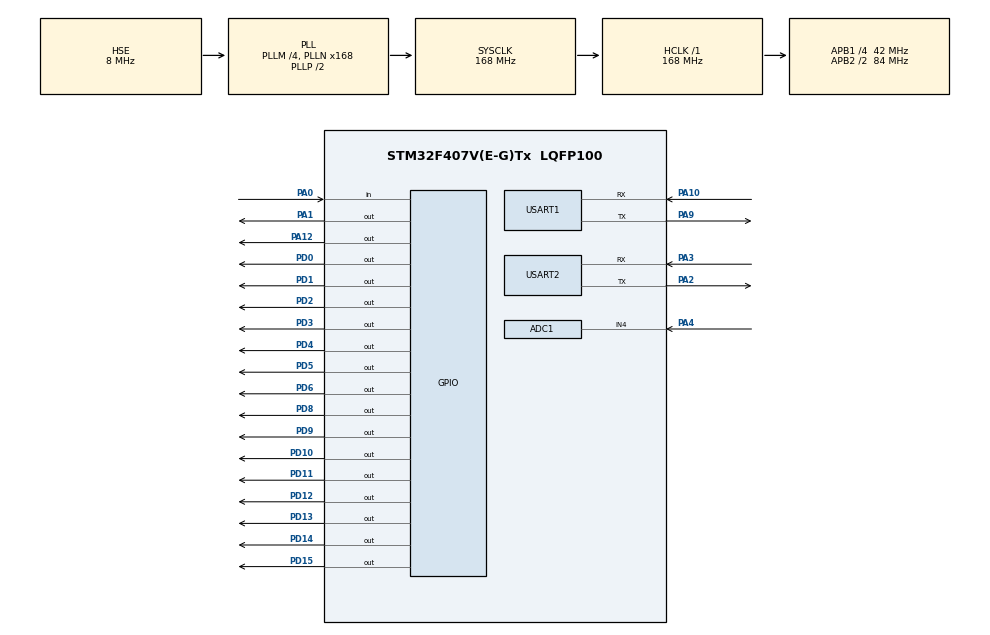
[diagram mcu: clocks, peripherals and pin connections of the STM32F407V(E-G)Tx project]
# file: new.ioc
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ADC1.Channel-1\#ChannelRegularConversion=ADC_CHANNEL_4
ADC1.NbrOfConversionFlag=1
ADC1.Rank-1\#ChannelRegularConversion=1
ADC1.SamplingTime-1\#ChannelRegularConversion=ADC_SAMPLETIME_3CYCLES
ADC1.master=1
Dma.Request0=USART2_RX
Dma.USART2_RX.0.Direction=DMA_PERIPH_TO_MEMORY
Dma.USART2_RX.0.FIFOMode=DMA_FIFOMODE_DISABLE
Dma.USART2_RX.0.Instance=DMA1_Stream5
Dma.USART2_RX.0.MemDataAlignment=DMA_MDATAALIGN_BYTE
Dma.USART2_RX.0.MemInc=DMA_MINC_ENABLE
Dma.USART2_RX.0.Mode=DMA_CIRCULAR
Dma.USART2_RX.0.PeriphDataAlignment=DMA_PDATAALIGN_BYTE
Dma.USART2_RX.0.PeriphInc=DMA_PINC_DISABLE
Dma.USART2_RX.0.Priority=DMA_PRIORITY_LOW
FREERTOS.Tasks01=defaultTask,0,128,StartDefaultTask,Default,NULL,Dynamic,NULL,NULL;myTask02,0,512,StartTask02,Default,NULL,Dynamic,NULL,NULL
Mcu.Family=STM32F4
Mcu.Name=STM32F407V(E-G)Tx
Mcu.Package=LQFP100
NVIC.DMA1_Stream5_IRQn=true\:5\:0\:false\:false\:true\:true\:false\:true\:true
NVIC.PriorityGroup=NVIC_PRIORITYGROUP_4
PA0-WKUP.Signal=GPIO_Input
PA1.Signal=GPIO_Output
PA10.Mode=Asynchronous
PA10.Signal=USART1_RX
PA12.Signal=GPIO_Output
PA13.Mode=Serial_Wire
PA13.Signal=SYS_JTMS-SWDIO
PA14.Mode=Serial_Wire
PA14.Signal=SYS_JTCK-SWCLK
PA2.Mode=Asynchronous
PA2.Signal=USART2_TX
PA3.Mode=Asynchronous
PA3.Signal=USART2_RX
PA4.Signal=ADCx_IN4
PA9.Mode=Asynchronous
PA9.Signal=USART1_TX
PD0.Signal=GPIO_Output
PD1.Signal=GPIO_Output
PD10.Signal=GPIO_Output
PD11.Signal=GPIO_Output
PD12.Signal=GPIO_Output
PD13.Signal=GPIO_Output
PD14.Signal=GPIO_Output
PD15.Signal=GPIO_Output
PD2.Signal=GPIO_Output
PD3.Signal=GPIO_Output
PD4.Signal=GPIO_Output
PD5.Signal=GPIO_Output
PD6.Signal=GPIO_Output
PD8.Signal=GPIO_Output
PD9.Signal=GPIO_Output
PH0-OSC_IN.Mode=HSE-External-Oscillator
PH0-OSC_IN.Signal=RCC_OSC_IN
PH1-OSC_OUT.Mode=HSE-External-Oscillator
PH1-OSC_OUT.Signal=RCC_OSC_OUT
ProjectManager.HeapSize=0x200
ProjectManager.StackSize=0x400
ProjectManager.TargetToolchain=STM32CubeIDE
RCC.48MHZClocksFreq_Value=84000000
RCC.AHBFreq_Value=168000000
RCC.APB1CLKDivider=RCC_HCLK_DIV4
RCC.APB1Freq_Value=42000000
RCC.APB1TimFreq_Value=84000000
RCC.APB2CLKDivider=RCC_HCLK_DIV2
RCC.APB2Freq_Value=84000000
RCC.APB2TimFreq_Value=168000000
RCC.CortexFreq_Value=168000000
RCC.HCLKFreq_Value=168000000
RCC.HSE_VALUE=8000000
RCC.HSI_VALUE=16000000
RCC.LSE_VALUE=32768
RCC.PLLM=4
RCC.PLLN=168
RCC.PLLSourceVirtual=RCC_PLLSOURCE_HSE
RCC.SYSCLKFreq_VALUE=168000000
RCC.SYSCLKSource=RCC_SYSCLKSOURCE_PLLCLK
RCC.VCOOutputFreq_Value=336000000
SH.ADCx_IN4.0=ADC1_IN4,IN4
USART1.VirtualMode=VM_ASYNC
USART2.VirtualMode=VM_ASYNC
VP_FREERTOS_VS_CMSIS_V1.Mode=CMSIS_V1
board=custom

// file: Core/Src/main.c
/* USER CODE BEGIN Header */
/**
 ******************************************************************************
 * @file           : main.c
 * @brief          : Main program body
 ******************************************************************************
 * @attention
 *
 * Copyright (c) 2025 STMicroelectronics.
 * All rights reserved.
 *
 * This software is licensed under terms that can be found in the LICENSE file
 * in the root directory of this software component.
 * If no LICENSE file comes with this software, it is provided AS-IS.
 *
 ******************************************************************************
 */
/* USER CODE END Header */
#include "main.h"
#include "cmsis_os.h"

/* USER CODE BEGIN Includes */
#include <stdio.h>
#include <string.h>
#include <stdlib.h>
#include "FreeRTOS.h"
#include "task.h"
#include "stm32f4xx_hal.h"
#include <math.h>
#include <stdbool.h>

/* USER CODE END Includes */

ADC_HandleTypeDef hadc1;

UART_HandleTypeDef huart1;
UART_HandleTypeDef huart2;
DMA_HandleTypeDef hdma_usart2_rx;

osThreadId defaultTaskHandle;
osThreadId myTask02Handle;
/* USER CODE BEGIN PV */
char rx_buffer[9];
float get_pressure;
uint32_t adc_Value;
float voltage;
float pressure;
char msg[150];
char buf[100];
float pressPSI;
#define TOLERANCE 3 // Tolerance range for fluctuating values (±2g around the target)
uint32_t current_time;
uint32_t last_time_1;

#define FLASH_USER_START_ADDR ((uint32_t)0x080E0000) // Flash address to store data

#define HX711_DT_PIN GPIO_PIN_0
#define HX711_DT_PORT GPIOA
#define HX711_SCK_PIN GPIO_PIN_1
#define HX711_SCK_PORT GPIOA
char RxData[11];
#define NUM_READINGS 10
float average_weight = 0.0;
float weight_readings[NUM_READINGS];
float sum = 0.0;
float get_wieght = 0;

// Function prototypes
void Flash_WriteData(uint32_t address, void *data, uint32_t size);
void Flash_ReadData(uint32_t address, void *data, uint32_t size);
void HX711_Init(void);
int32_t HX711_Read(void);
float HX711_GetWeight(int32_t offset, float scale);

// Flash Write Function
void Flash_WriteData(uint32_t address, void *data, uint32_t size) {
	HAL_FLASH_Unlock();
	for (uint32_t i = 0; i < size; i += 4) {
		HAL_FLASH_Program(FLASH_TYPEPROGRAM_WORD, address + i,
				*(uint32_t*) ((uint8_t*) data + i));
	}
	HAL_FLASH_Lock();
}

// Flash Read Function
void Flash_ReadData(uint32_t address, void *data, uint32_t size) {
	memcpy(data, (void*) address, size);
}

char buffer1[100];
char buffer2[200];
char buffer3[200];
char buffer4[200];
char buffer0[100];
char buffer5[50];
char buffer6[100];
char buffer7[100];
char buffer[100] = { 0 };
//uint8_t rx_buffer[100];

/* USER CODE END PV */

void SystemClock_Config(void);
static void MX_GPIO_Init(void);
static void MX_DMA_Init(void);
static void MX_USART1_UART_Init(void);
static void MX_USART2_UART_Init(void);
static void MX_ADC1_Init(void);
void StartDefaultTask(void const *argument);
void StartTask02(void const *argument);

/* USER CODE BEGIN PFP */
//void WeightMeasurementTask(void *parameters);
//void ValveOperatingTask(void *parameters);

/* USER CODE END PFP */

/* USER CODE BEGIN 0 */

void HX711_Init(void) {
	HAL_GPIO_WritePin(HX711_SCK_PORT, HX711_SCK_PIN, GPIO_PIN_RESET);
}

int32_t HX711_Read(void) {
	int32_t data = 0;
	uint8_t i;

	while (HAL_GPIO_ReadPin(HX711_DT_PORT, HX711_DT_PIN) == GPIO_PIN_SET)
		;

	for (i = 0; i < 24; i++) {
		HAL_GPIO_WritePin(HX711_SCK_PORT, HX711_SCK_PIN, GPIO_PIN_SET); // SCK
		//HAL_Delay(10);
		data = (data << 1) | HAL_GPIO_ReadPin(HX711_DT_PORT, HX711_DT_PIN);
		HAL_GPIO_WritePin(HX711_SCK_PORT, HX711_SCK_PIN, GPIO_PIN_RESET); // SCK
		//HAL_Delay(100);
	}

	HAL_GPIO_WritePin(HX711_SCK_PORT, HX711_SCK_PIN, GPIO_PIN_SET); // 25th pulse
	HAL_GPIO_WritePin(HX711_SCK_PORT, HX711_SCK_PIN, GPIO_PIN_RESET);

	if (data & 0x800000) {
		data |= 0xFF000000;
	}

	return data;
}
float HX711_GetWeight(int32_t offset, float scale) {
	int32_t raw_value = HX711_Read();
	float weight = ((float) (raw_value - offset) / scale);

	// Avoid displaying small negative values due to noise
	if (fabs(raw_value - offset) < 500) {
		return 0.0;
	}
	return weight;
}

/* USER CODE END 0 */

// Fun to send the data to LCD

void SendIconToDWIN(void) {
	uint8_t icon_command[] = { 0x5a, 0xa5, 0x05, 0x82, 0x12, 0x50, 0x00, 0x22}; // Example command, refer to your display's documentation for correct values.
	HAL_UART_Transmit(&huart2, icon_command, sizeof(icon_command), 500);
}

void Reset_GPIO_Pins1(void) {
	HAL_GPIO_WritePin(GPIOD,
			GPIO_PIN_0 | GPIO_PIN_1 | GPIO_PIN_2 | GPIO_PIN_3 | GPIO_PIN_4
					| GPIO_PIN_5 | GPIO_PIN_8 | GPIO_PIN_9 | GPIO_PIN_10
					| GPIO_PIN_11 | GPIO_PIN_12 | GPIO_PIN_13 | GPIO_PIN_14
					| GPIO_PIN_15, GPIO_PIN_RESET);
}
void Set_Valves1(uint32_t *pins, uint8_t pin_count) {
	for (uint8_t i = 0; i < pin_count; i++) {
		HAL_GPIO_WritePin(GPIOD, pins[i], GPIO_PIN_SET);
	}
}
void cycle1(uint32_t *pins, uint8_t pin_count) {
	Set_Valves(pins, pin_count);
	//osDelay(delay);
	//Reset_GPIO_Pins();
}
void cycle_for_rinse1(uint32_t *pins, uint8_t pin_count,uint32_t delay) {
	Set_Valves(pins, pin_count);
	osDelay(delay);
	Reset_GPIO_Pins();
}

//    -------------  This code for pressure sensor code  without while for using it weight measuring function ------------------

float Water_pressure_get_PSI(void)
{
    const uint32_t num_samples = 10;
    const float Vcc = 3.3f;   // MCU ADC reference voltage
    const float Vmin = 0.5f;  // Sensor output at 0 MPa
    const float Vmax = 4.5f;  // Sensor output at 1.6 MPa
    const float Pmax = 1.6f;  // Max pressure in MPa

    uint32_t raw = 0;

    // Take multiple samples and average
    for (uint32_t i = 0; i < num_samples; i++) {
        HAL_ADC_Start(&hadc1);
        if (HAL_ADC_PollForConversion(&hadc1, HAL_MAX_DELAY) == HAL_OK) {
            raw += HAL_ADC_GetValue(&hadc1);
        }
    }
    raw /= num_samples;

    // Convert raw ADC to voltage
    float voltage = raw * (Vcc / 4095.0f);

    // Convert voltage to pressure (MPa)
    float pressMPa = (voltage - Vmin) * (Pmax / (Vmax - Vmin));

    // Clamp pressure
    if (pressMPa < 0.0f) pressMPa = 0.0f;
    if (pressMPa > Pmax) pressMPa = Pmax;

    // Convert MPa to PSI
    float pressPSI = pressMPa * 145.0377f;

    return pressPSI;
}
uint32_t Water_pressure_get_mmHg(void)
{
    const uint32_t num_samples = 10;
    const float Vcc = 3.3f;   // MCU ADC reference voltage
    const float Vmin = 0.5f;  // Sensor output at 0 MPa
    const float Vmax = 4.5f;  // Sensor output at 1.6 MPa
    const float Pmax = 1.6f;  // Max pressure in MPa

    uint32_t raw = 0;

    // Take multiple samples and average
    for (uint32_t i = 0; i < num_samples; i++) {
        HAL_ADC_Start(&hadc1);
        if (HAL_ADC_PollForConversion(&hadc1, HAL_MAX_DELAY) == HAL_OK) {
            raw += HAL_ADC_GetValue(&hadc1);
        }
    }
    raw /= num_samples;

    // Convert raw ADC to voltage
    float voltage = raw * (Vcc / 4095.0f);

    // Convert voltage to pressure (MPa)
    float pressMPa = (voltage - Vmin) * (Pmax / (Vmax - Vmin));

    // Clamp pressure
    if (pressMPa < 0.0f) pressMPa = 0.0f;
    if (pressMPa > Pmax) pressMPa = Pmax;

    // Convert MPa to mmHg
    float press_mmHg = pressMPa * 7500.61683f;

    return (uint32_t)press_mmHg;
}

void WeightMeasurementTask(void) {
	int32_t offset = 0;
	float scale = NAN;
	float last_weight = 0.0;
	float weight = 0;
	float density = 1.0;
	float volume_ml;
	bool chemical_fill_needed=0;
    bool valve_active = 0;  // State flag for valve operation
    bool cycle6_active = 0; // Track if cycle 6 is active
    bool cycle2_done = 0;   // Flag to track if Cycle 2 (drain water) is complete
    bool cycle7_done = 0;   // Flag to track if Cycle 7 (fill water) is complete
    bool cycle8_done = 0;   // Flag to track if Cycle 8 (flush chemical A to V) is complete
    bool cycle9_done = 0;   // Flag to track if Cycle 9 (flush chemical V to A) is complete
    bool cycle10_done = 0;  // Flag to track if Cycle 10 (flush chemical DO to DI) is complete
    bool pressure_checked = 0; // Flag to track if the pressure condition has been handled

	FLASH_FlushCaches();
	// Read saved offset and scale from Flash
	Flash_ReadData(FLASH_USER_START_ADDR, &offset, sizeof(offset));
	Flash_ReadData(FLASH_USER_START_ADDR + sizeof(offset), &scale,
			sizeof(scale));

	if (offset == -1 || isnan(scale)) {

		// Perform first-time calibration
		// printf("First-time calibration needed.\n");
//		snprintf(buffer0, sizeof(buffer0),
//				"First-time calibration needed.\n\r:");
//		HAL_UART_Transmit(&huart1, (uint8_t*) buffer0, strlen(buffer0),
//		HAL_MAX_DELAY);

		//printf("Calibrating offset...\n");
//		snprintf(buffer1, sizeof(buffer1), "Calibrating offset...\n\r:");
//		HAL_UART_Transmit(&huart1, (uint8_t*) buffer1, strlen(buffer1),
//		HAL_MAX_DELAY);

		osDelay(50);
		offset = HX711_Read();
		/*
		 //printf("Offset: %ld\n", offset);
		 snprintf(buffer2, sizeof(buffer2), "Offset: %ld\n\r:");
		 HAL_UART_Transmit(&huart1, (uint8_t*) buffer2, strlen(buffer2),
		 HAL_MAX_DELAY);

		 //printf("Place known weight (e.g., 2kg) on the scale...\n");
		 snprintf(buffer3, sizeof(buffer3),
		 "Place known weight (e.g., 2kg) on the scale...\n\r:");
		 HAL_UART_Transmit(&huart1, (uint8_t*) buffer3, strlen(buffer3),
		 HAL_MAX_DELAY);*/

//		int32_t raw_with_weight = HX711_Read();
//		scale = (float) (raw_with_weight - offset) / 346.0; // Known weight: 2kg
//		// printf("Scale factor: %.2f\n", scale);
//		snprintf(buffer4, sizeof(buffer4), "Scale factor: %.2f\n\r:");
//		HAL_UART_Transmit(&huart1, (uint8_t*) buffer4, strlen(buffer4),
//		HAL_MAX_DELAY);
		// Save offset and scale to Flash
		Flash_WriteData(FLASH_USER_START_ADDR, &offset, sizeof(offset));
		Flash_WriteData(FLASH_USER_START_ADDR + sizeof(offset), &scale,
				sizeof(scale));

	} else {
		//printf("Offset and scale loaded from Flash.\n");
//		snprintf(buffer5, sizeof(buffer5),
//				"Offset and scale loaded from Flash.\n\r:");
//		HAL_UART_Transmit(&huart1, (uint8_t*) buffer5, strlen(buffer5),
//		HAL_MAX_DELAY);
		//// printf("Offset: %ld, Scale: %.2f\n", offset, scale);

		snprintf(buffer6, sizeof(buffer6), "Offset: %ld\n\r:", offset);
		HAL_UART_Transmit(&huart1, (uint8_t*) buffer6, strlen(buffer6),
		HAL_MAX_DELAY);
		snprintf(buffer7, sizeof(buffer7), "Scale: %.2f\n\r:", scale);
		HAL_UART_Transmit(&huart1, (uint8_t*) buffer7, strlen(buffer7),
		HAL_MAX_DELAY);

	}

    // Valve control pattern cycles
    //******************  Rinse & Pressure check cycle  *********************//
	uint32_t cycle_1[] = {GPIO_PIN_0,GPIO_PIN_1,GPIO_PIN_2,GPIO_PIN_9,GPIO_PIN_11}; // STEP 1 FLUSH THE WATER A to V FOR 30 SECOND
    uint32_t cycle_2[] = {GPIO_PIN_0,GPIO_PIN_1,GPIO_PIN_4,GPIO_PIN_8,GPIO_PIN_11}; // STEP 2 FLUSH THE WATER V to A FOR 30 SECOND
    uint32_t cycle_3[] = {GPIO_PIN_0,GPIO_PIN_1,GPIO_PIN_3,GPIO_PIN_12,GPIO_PIN_11}; // SETP 3 FLUSH THE WATER FOR 30 DO to DI
    uint32_t cycle_4[] = {GPIO_PIN_0,GPIO_PIN_1,GPIO_PIN_13,GPIO_PIN_11}; // STEP 4: Fill the water
    uint32_t cycle_5[] = {GPIO_PIN_13,GPIO_PIN_4,GPIO_PIN_9}; // STEP 5: Drain the water
    uint32_t cycle_6[] = {GPIO_PIN_15,GPIO_PIN_14,GPIO_PIN_13}; // STEP 6: Fill chemical
    uint32_t cycle_7[] = {GPIO_PIN_0,GPIO_PIN_1,GPIO_PIN_13,GPIO_PIN_11}; // STEP 7: Fill the water again
    uint32_t cycle_8[] = {GPIO_PIN_13,GPIO_PIN_2,GPIO_PIN_9}; // STEP 8: 200ml chemical water flush A to V
    uint32_t cycle_9[] = {GPIO_PIN_13,GPIO_PIN_4,GPIO_PIN_8}; // STEP 9: 200ml chemical water flush V to A
    uint32_t cycle_10[] = {GPIO_PIN_13,GPIO_PIN_3,GPIO_PIN_12}; // STEP 10: 250ml chemical water flush DO to DI
      // Delay between cycles
   // Draincycle();
    SendIconToDWIN();

    // State variables (add these at the top with your other declarations)
    bool initial_fill_done = false;
    bool drain_complete = false;
    bool chemical_fill_done = false;
    bool second_fill_done = false;
    bool flush_a_to_v_done = false;
    bool flush_v_to_a_done = false;
    bool flush_do_to_di_done = false;

	while (1) {
		/* USER CODE END WHILE */

		weight = HX711_GetWeight(offset, scale);
		get_wieght = weight;

//		if (weight > 3000.0) {
//			snprintf(buffer, sizeof(buffer),"Overload! Max weight is 2kg.\n\r");
//			HAL_UART_Transmit(&huart1, (uint8_t*) buffer, strlen(buffer),HAL_MAX_DELAY);}

		 pressPSI = Water_pressure_get_mmHg();  // Get latest PSI

		 snprintf(buf, sizeof(buf), "Water Pressure: %f mmHg\r\n", pressPSI);
		 HAL_UART_Transmit(&huart1, (uint8_t*)buf, strlen(buf), HAL_MAX_DELAY);
		 snprintf(buffer, sizeof(buffer),"                                                   Weight: %.f ml\n\r",get_wieght);
		 HAL_UART_Transmit(&huart1, (uint8_t*) buffer, strlen(buffer),HAL_MAX_DELAY);

//  -------- Here is code cycle will be run according to weight which we are measure from the load cell ---------
		/* if (get_wieght >= 1500) {
		     snprintf(buffer5,sizeof(buffer5),"Drain condition detected\n\r");
		     HAL_UART_Transmit(&huart1, (uint8_t*) buffer5, strlen(buffer5), HAL_MAX_DELAY);

		     // Reset pump and stop filling
		     Reset_GPIO_Pins1();
		     cycle1(cycle_5, sizeof(cycle_5) / sizeof(cycle_5[0]));
		     cycle2_done = 1;  // Mark Cycle 2 as done
		     chemical_fill_needed = 1;  // Flag that chemical fill is needed after drain

		     // Skip other checks until weight drops
		     osDelay(250);
		     continue;
		 }

		 // After drain completes and weight returns to initial level
		 if (get_wieght >= (1035 - TOLERANCE) && get_wieght <= (1035 + TOLERANCE)) {
		     if (!cycle2_done) {
		         // Start initial water fill cycle
		         cycle1(cycle_4, sizeof(cycle_4) / sizeof(cycle_4[0]));
		         snprintf(buffer5, sizeof(buffer5), "Starting fill cycle: %.f\n\r", get_wieght);
		         HAL_UART_Transmit(&huart1, (uint8_t*) buffer5, strlen(buffer5), HAL_MAX_DELAY);
		     }
		     else if (chemical_fill_needed) {
		         // Chemical fill phase after drain completes
		         Reset_GPIO_Pins1();
		         cycle6_active = 1;
		         chemical_fill_needed = 0;  // Reset the flag
		         cycle1(cycle_6, sizeof(cycle_6) / sizeof(cycle_6[0]));
		         snprintf(buffer5, sizeof(buffer5), "Starting chemical fill: %.f\n\r", get_wieght);
		         HAL_UART_Transmit(&huart1, (uint8_t*) buffer5, strlen(buffer5), HAL_MAX_DELAY);
		     }
		 }

		 // Chemical fill completion check
		 if (cycle6_active && get_wieght >= (1053 - TOLERANCE) && get_wieght <= (1053 + TOLERANCE)) {
		     cycle6_active = 0;
		     cycle7_done = 1;
		     Reset_GPIO_Pins1();
		     cycle1(cycle_7, sizeof(cycle_7) / sizeof(cycle_7[0]));
		     snprintf(buffer5, sizeof(buffer5), "Chemical fill complete, starting water fill\n\r");
		     HAL_UART_Transmit(&huart1, (uint8_t*) buffer5, strlen(buffer5), HAL_MAX_DELAY);
		 }
		 // After chemical filling is complete (≈1053ml) and water filling starts
		 if (cycle7_done && get_wieght >= (1644 - TOLERANCE) && get_wieght <= (1644 + TOLERANCE) && !cycle8_done) {
		     // Stop water filling and prepare for chemical flush
		     Reset_GPIO_Pins1();
		     snprintf(buffer, sizeof(buffer), "Water fill complete (%.1f ml), starting chemical flush A→V\n\r", get_wieght);
		     HAL_UART_Transmit(&huart1, (uint8_t*)buffer, strlen(buffer), HAL_MAX_DELAY);

		     // Start chemical flush A to V
		     cycle1(cycle_8, sizeof(cycle_8) / sizeof(cycle_8[0]));
		     cycle8_done = 1;

		     snprintf(buffer, sizeof(buffer), "Chemical flush A→V started (target: 200ml reduction)\n\r");
		     HAL_UART_Transmit(&huart1, (uint8_t*)buffer, strlen(buffer), HAL_MAX_DELAY);
		 }

		 // Chemical flush A→V completion check (target ≈1444ml)
		 if (cycle8_done && get_wieght >= (1444 - TOLERANCE) && get_wieght <= (1444 + TOLERANCE) && !cycle9_done) {
		     Reset_GPIO_Pins1();

		     snprintf(buffer, sizeof(buffer), "Chemical A→V flush complete (%.1f ml), starting V→A flush\n\r", get_wieght);
		     HAL_UART_Transmit(&huart1, (uint8_t*)buffer, strlen(buffer), HAL_MAX_DELAY);

		     // Start chemical flush V to A
		     cycle1(cycle_9, sizeof(cycle_9) / sizeof(cycle_9[0]));
		     cycle9_done = 1;

		     snprintf(buffer, sizeof(buffer), "Chemical flush V→A started (target: 200ml reduction)\n\r");
		     HAL_UART_Transmit(&huart1, (uint8_t*)buffer, strlen(buffer), HAL_MAX_DELAY);
		 }

		 // Chemical flush V→A completion check (target ≈1244ml)
		 if (cycle9_done && get_wieght >= (1244 - TOLERANCE) && get_wieght <= (1244 + TOLERANCE) && !cycle10_done) {
		     Reset_GPIO_Pins1();

		     snprintf(buffer, sizeof(buffer), "Chemical V→A flush complete (%.1f ml), starting DO→DI flush\n\r", get_wieght);
		     HAL_UART_Transmit(&huart1, (uint8_t*)buffer, strlen(buffer), HAL_MAX_DELAY);

		     // Start final chemical flush DO to DI
		     cycle1(cycle_10, sizeof(cycle_10) / sizeof(cycle_10[0]));
		     cycle10_done = 1;

		     snprintf(buffer, sizeof(buffer), "Chemical flush DO→DI started (target: 250ml reduction)\n\r");
		     HAL_UART_Transmit(&huart1, (uint8_t*)buffer, strlen(buffer), HAL_MAX_DELAY);
		 }

		 // Final completion check (back to ≈1035ml)
		 if (cycle10_done && get_wieght >= (1035 - TOLERANCE) && get_wieght <= (1035 + TOLERANCE)) {
		     Reset_GPIO_Pins1();

		     snprintf(buffer, sizeof(buffer), "Process complete! Final weight: %.1f ml\n\r", get_wieght);
		     HAL_UART_Transmit(&huart1, (uint8_t*)buffer, strlen(buffer), HAL_MAX_DELAY);

		     // Reset all flags for next cycle
		     cycle2_done = 0;
		     cycle6_active = 0;
		     cycle7_done = 0;
		     cycle8_done = 0;
		     cycle9_done = 0;
		     cycle10_done = 0;
		     chemical_fill_needed = 0;
		 }*/
		   // Step 1: Initial water filling (1035ml → 1500ml)
		 // Step 1: Initial water filling (1035ml → 1500ml)
		     if (!initial_fill_done && get_wieght >= (1035 - TOLERANCE) && get_wieght <= (1035 + TOLERANCE)) {
		         Reset_GPIO_Pins1();
		         cycle1(cycle_4, sizeof(cycle_4) / sizeof(cycle_4[0]));
		         snprintf(buffer, sizeof(buffer), "Starting initial water filling\n\r");
		         HAL_UART_Transmit(&huart1, (uint8_t*)buffer, strlen(buffer), HAL_MAX_DELAY);
		         initial_fill_done = true;
		     }

		     // Step 2: Drain when reaching 1500ml
		     if (initial_fill_done && !drain_complete && get_wieght >= 1500) {
		         Reset_GPIO_Pins1();
		         cycle1(cycle_5, sizeof(cycle_5) / sizeof(cycle_5[0]));
		         snprintf(buffer, sizeof(buffer), "Draining water (reached %.1f ml)\n\r", get_wieght);
		         HAL_UART_Transmit(&huart1, (uint8_t*)buffer, strlen(buffer), HAL_MAX_DELAY);
		         drain_complete = true;
		     }

		     // Step 3: After drain completes (back to ~1035ml), start chemical fill
		     if (drain_complete && !chemical_fill_done &&
		         get_wieght >= (1035 - TOLERANCE) && get_wieght <= (1035 + TOLERANCE)) {
		         Reset_GPIO_Pins1();
		         cycle1(cycle_6, sizeof(cycle_6) / sizeof(cycle_6[0]));
		         snprintf(buffer, sizeof(buffer), "Starting chemical filling\n\r");
		         HAL_UART_Transmit(&huart1, (uint8_t*)buffer, strlen(buffer), HAL_MAX_DELAY);
		         chemical_fill_done = true;
		     }

		     // Step 4: When chemical fill reaches 1053ml, start second water fill
		     if (chemical_fill_done && !second_fill_done &&
		         get_wieght >= (1053 - TOLERANCE) && get_wieght <= (1053 + TOLERANCE)) {
		         Reset_GPIO_Pins1();
		         cycle1(cycle_7, sizeof(cycle_7) / sizeof(cycle_7[0]));
		         snprintf(buffer, sizeof(buffer), "Chemical fill complete, starting water filling\n\r");
		         HAL_UART_Transmit(&huart1, (uint8_t*)buffer, strlen(buffer), HAL_MAX_DELAY);
		         second_fill_done = true;
		     }

		     // Step 5: When second fill reaches 1644ml, start A→V flush
		     if (second_fill_done && !flush_a_to_v_done &&
		         get_wieght >= (1651 - TOLERANCE) && get_wieght <= (1651 + TOLERANCE)) {
		         Reset_GPIO_Pins1();
		         cycle1(cycle_8, sizeof(cycle_8) / sizeof(cycle_8[0]));
		         snprintf(buffer, sizeof(buffer), "Water fill complete, flushing A→V (200ml)\n\r");
		         HAL_UART_Transmit(&huart1, (uint8_t*)buffer, strlen(buffer), HAL_MAX_DELAY);
		         flush_a_to_v_done = true;
		     }

		     // Step 6: When A→V flush reaches 1444ml, start V→A flush
		     if (flush_a_to_v_done && !flush_v_to_a_done &&
		         get_wieght >= (1444 - TOLERANCE) && get_wieght <= (1444 + TOLERANCE)) {
		         Reset_GPIO_Pins1();
		         cycle1(cycle_9, sizeof(cycle_9) / sizeof(cycle_9[0]));
		         snprintf(buffer, sizeof(buffer), "A→V flush complete, flushing V→A (200ml)\n\r");
		         HAL_UART_Transmit(&huart1, (uint8_t*)buffer, strlen(buffer), HAL_MAX_DELAY);
		         flush_v_to_a_done = true;
		     }

		     // Step 7: When V→A flush reaches 1244ml, start DO→DI flush
		     if (flush_v_to_a_done && !flush_do_to_di_done &&
		         get_wieght >= (1244 - TOLERANCE) && get_wieght <= (1244 + TOLERANCE)) {
		         Reset_GPIO_Pins1();
		         cycle1(cycle_10, sizeof(cycle_10) / sizeof(cycle_10[0]));
		         snprintf(buffer, sizeof(buffer), "V→A flush complete, flushing DO→DI (250ml)\n\r");
		         HAL_UART_Transmit(&huart1, (uint8_t*)buffer, strlen(buffer), HAL_MAX_DELAY);
		         flush_do_to_di_done = true;
		     }

		     // Step 8: When DO→DI flush returns to 1035ml, reset all flags to restart cycle
		     if (flush_do_to_di_done &&
		         get_wieght >= (1035 - TOLERANCE) && get_wieght <= (1035 + TOLERANCE)) {
		         Reset_GPIO_Pins1();
		         snprintf(buffer, sizeof(buffer), "Process complete! Ready for next cycle\n\r");
		         HAL_UART_Transmit(&huart1, (uint8_t*)buffer, strlen(buffer), HAL_MAX_DELAY);

		         // Reset all flags to restart the cycle
		         initial_fill_done = false;
		         drain_complete = false;
		         chemical_fill_done = false;
		         second_fill_done = false;
		         flush_a_to_v_done = false;
		         flush_v_to_a_done = false;
		         flush_do_to_di_done = false;
		     }

		// if (get_wieght >= (1035 - TOLERANCE) && get_wieght <= (1035 + TOLERANCE)) {

//			 cycle_for_rinse1(cycle_1, sizeof(cycle_1) / sizeof(cycle_1[0]), 20000);
//	         osDelay(5000); // Hold for 30 seconds
//			 cycle_for_rinse1(cycle_2, sizeof(cycle_2) / sizeof(cycle_2[0]), 20000);
//	         osDelay(5000); // Hold for 30 seconds
//
//			 cycle_for_rinse1(cycle_3, sizeof(cycle_3) / sizeof(cycle_3[0]), 20000);
//	         osDelay(5000); // Hold for 30 seconds

/*
	        if (!cycle2_done && get_wieght >= (1035 - TOLERANCE) && get_wieght <= (1035 + TOLERANCE)) {
	            // Start filling water cycle (Cycle 1) when weight is close to
	            cycle1(cycle_4, sizeof(cycle_4) / sizeof(cycle_4[0]));
	            snprintf(buffer5, sizeof(buffer5), "Weight exceeded threshold: %.f\n\r", get_wieght);
	           	HAL_UART_Transmit(&huart1, (uint8_t*) buffer5, strlen(buffer5), HAL_MAX_DELAY);

	        }
	        if (get_wieght >= 1500) {

	      	    	        	snprintf(buffer5,sizeof(buffer5),"detected\n\r");
	      	    	        	HAL_UART_Transmit(&huart1, (uint8_t*) buffer5, strlen(buffer5), HAL_MAX_DELAY);
	      	    	            // Reset pump and stop filling
	      	    	            Reset_GPIO_Pins1();
	      	    	           // osDelay(30000); // Hold for 30 seconds

	      	    	            // Proceed with cycle
	      	    	            cycle1(cycle_5, sizeof(cycle_5) / sizeof(cycle_5[0]));
	      	    	           // osDelay(30000); // Hold for 1 minute
	      	    	            cycle2_done = 1;  // Mark Cycle 2 as done
	      	    	        }
*/

				/*static uint32_t cycle2_start_time = 0;

				if (cycle2_start_time == 0) {
					// First entry into this block - record start time and reset GPIO
					Reset_GPIO_Pins1();

					cycle2_start_time = HAL_GetTick();
				} else {
					// Check if 30 seconds have passed
					if (HAL_GetTick() - cycle2_start_time >= 30000) {
						// 30 seconds have elapsed - proceed with drain cycle
						Draincycle();
						cycle2_done = 1; // Mark Cycle 2 as complete
						cycle2_start_time = 0; // Reset for potential future use
					}
				}
			}*/

	      /*
	        if (cycle2_done && !cycle6_active && get_wieght >= (1035 - TOLERANCE) && get_wieght <= (1035 + TOLERANCE)) {
	            // Start cycle 6 (fill 15ml chemical) when weight is near
	            Reset_GPIO_Pins1();
	            cycle6_active = 1;
	            cycle1(cycle_6, sizeof(cycle_6) / sizeof(cycle_6[0]));
	        }

	        if (cycle6_active && get_wieght >= (1053 - TOLERANCE) && get_wieght <= (1053 + TOLERANCE)) {
	            // Stop chemical filling and start cycle 7 (fill 635ml water)
	            cycle6_active = 0;
	            cycle7_done = 1; // Mark Cycle 6 as done
	            Reset_GPIO_Pins1();
	            cycle1(cycle_7, sizeof(cycle_7) / sizeof(cycle_7[0]));
	        }

	        if (cycle7_done && get_wieght >= (1644 - TOLERANCE) && get_wieght <= (1644 + TOLERANCE) && !cycle8_done) {
	            // Stop filling water and hold for 30 seconds (Cycle 7)
	            Reset_GPIO_Pins1();
	            //osDelay(20000); // Hold for 30 seconds
	            cycle1(cycle_8, sizeof(cycle_8) / sizeof(cycle_8[0])); // Start cycle 8 (flush chemical A to V)
	            cycle8_done = 1; // Mark Cycle 8 as done
	        }

	        if (cycle8_done && get_wieght >= (1442 - TOLERANCE) && get_wieght <= (1442 + TOLERANCE) && !cycle9_done) {
	            // Start cycle 9 (flush chemical V to A)
	            Reset_GPIO_Pins1();
	        	//osDelay(10000);
	            cycle1(cycle_9, sizeof(cycle_9) / sizeof(cycle_9[0])); // Flush 200ml chemical water (V to A)
	            cycle9_done = 1; // Mark Cycle 9 as done
	        }

	        if (cycle9_done && get_wieght >= (1240 - TOLERANCE) && get_wieght <= (1240 + TOLERANCE) && !cycle10_done) {
	            // Start cycle 10 (flush 250ml chemical water DO to DI)
	            Reset_GPIO_Pins1();
	        	//osDelay(10000);
	            cycle1(cycle_10, sizeof(cycle_10) / sizeof(cycle_10[0])); // Flush 250ml chemical water (DO to DI)
	            cycle10_done = 1; // Mark Cycle 10 as done
	        }

	        // --- Complete Cycle ---
	        if (cycle10_done && get_wieght >= (1035 - TOLERANCE) && get_wieght <= (1035 + TOLERANCE)) {
	            // All cycles complete, reset valves to their initial state
	            Reset_GPIO_Pins1();
	            cycle2_done = 0;
	            cycle6_active = 0;
	            cycle7_done = 0;
	            cycle8_done = 0;
	            cycle9_done = 0;
	            cycle10_done = 0;
	        }
		   }*/

		 osDelay(250);

	}
}
//  ------------ This is the pressure sensor code for taking the value in while loop ------------
int Water_pressure_data(void)
{
	HAL_ADC_Start(&hadc1);
	uint32_t num_samples = 10;
	const float Vcc = 3.3f;   // ADC reference = sensor V+ = 5 V
	const float Vmin = 0.5f;   // 0 MPa → 0.5 V
	const float Vmax = 4.5f;   // 1.6 MPa → 4.5 V
	const float Pmax = 1.6f;   // full-scale pressure [MPa]

	char buf[100];
	uint32_t raw = 0;
	float voltage, pressMPa, presskPa, pressPSI;

	for (;;) {
		for (int i = 0; i < num_samples; i++) {
			HAL_ADC_Start(&hadc1);
			if (HAL_ADC_PollForConversion(&hadc1, HAL_MAX_DELAY) == HAL_OK) {
				raw = HAL_ADC_GetValue(&hadc1);
			}

			//HAL_ADC_Stop(&hadc1);
		}
		// Convert raw ADC to voltage
		 voltage = raw * (Vcc / 4095.0f);

			 	  // 3) Convert voltage to pressure (MPa)
			 	  pressMPa = (voltage - Vmin) * (Pmax / (Vmax - Vmin));

			 	  // Clamp pressure to valid range
			 	  if (pressMPa < 0.0f) pressMPa = 0.0f;
			 	  if (pressMPa > Pmax) pressMPa = Pmax;

			 	  // 4) Convert MPa to other units
			 	  presskPa = pressMPa * 1000.0f;       // 1 MPa = 1000 kPa
			 	  pressPSI = pressMPa * 145.0377f;      // 1 MPa ≈ 145.0377 PSI

			 	  // (Optional) PSI range validation
			 	  const float minPSI = 0.0f;            // Minimum allowed PSI
			 	  const float maxPSI = 250.0f;
			       /* 5) Print out via UART */
			       int len = snprintf(buf, sizeof(buf),
			       "RAW=%4lu  V=%.3f V  prssure %.1f PSI \r\n",
			       raw, voltage,pressPSI);
			       HAL_UART_Transmit(&huart1, (uint8_t*) buf, len, HAL_MAX_DELAY);

			       osDelay(100);

	}
}

// ---------This code for rinse and cleaning cycle with common function which will be use blocking delay function--------------
/*
void Reset_GPIO_Pins(void) {
	HAL_GPIO_WritePin(GPIOD,
			GPIO_PIN_0 | GPIO_PIN_1 | GPIO_PIN_2 | GPIO_PIN_3 | GPIO_PIN_4
					| GPIO_PIN_5| GPIO_PIN_8 | GPIO_PIN_9|GPIO_PIN_10|GPIO_PIN_11|GPIO_PIN_12|GPIO_PIN_13|GPIO_PIN_14|GPIO_PIN_15,
			GPIO_PIN_RESET);
}
void Set_Valves(uint32_t *pins, uint8_t pin_count) {
	for (uint8_t i = 0; i < pin_count; i++) {
		HAL_GPIO_WritePin(GPIOD, pins[i], GPIO_PIN_SET);
	}
}
void cycle(uint32_t *pins, uint8_t pin_count,uint32_t delay) {
	Set_Valves(pins, pin_count);
	osDelay(delay);
	Reset_GPIO_Pins();
}
int ValveOperatingTask(void) {
	//uint32_t cycle_1[] = {GPIO_PIN_15,GPIO_PIN_14,GPIO_PIN_2,GPIO_PIN_5,GPIO_PIN_10}; //Tank input line connection s_
//	uint32_t cycle_2[] = {GPIO_PIN_0,GPIO_PIN_1,GPIO_PIN_13,GPIO_PIN_11}; // STEP 1 FLUSH THE WATER A to V FOR 30 SECOND
//	uint32_t cycle_3[] = {GPIO_PIN_13,GPIO_PIN_4}; //STEP 9  200ml CHEMICAL WATER FLUSH V to A
//	uint32_t cycle_4[] ={GPIO_PIN_13,GPIO_PIN_3,GPIO_PIN_12}; //STEP 10 250ml CHEMICAL WATER FLUSH DO to DI
	    //******************  Rinse & Pressure check cycle  *********************/
	//	uint32_t cycle_1[] = {GPIO_PIN_0,GPIO_PIN_1,GPIO_PIN_2,GPIO_PIN_9,GPIO_PIN_11}; // STEP 1 FLUSH THE WATER A to V FOR 30 SECOND
//		uint32_t cycle_2[] = {GPIO_PIN_0,GPIO_PIN_1,GPIO_PIN_4,GPIO_PIN_8,GPIO_PIN_11}; // STEP 2 FLUSH THE WATER V to A FOR 30 SECOND
//	    uint32_t cycle_3[] = {GPIO_PIN_0,GPIO_PIN_1,GPIO_PIN_3,GPIO_PIN_12,GPIO_PIN_11}; // SETP 3 FLUSH THE WATER FOR 30 DO to DI
	//******************  Cleaning cycle start from here  ********************//
	//	uint32_t cycle_4[] = {GPIO_PIN_15,GPIO_PIN_14,GPIO_PIN_2,GPIO_PIN_5,GPIO_PIN_10}; //Tank input line connection s_
//	uint32_t cycle_4[] = { GPIO_PIN_0, GPIO_PIN_1, GPIO_PIN_2, GPIO_PIN_5,GPIO_PIN_10, GPIO_PIN_11 };	// STEP4 FILL THE 1000ml WATER IN THE TANK AND HOLD IT FOR I MINUTES
//	uint32_t cycle_5[] = { GPIO_PIN_13,GPIO_PIN_2, GPIO_PIN_9}; //STEP 5 DRIAN OUT THE WATER FROM THE TANK TO CHECK TANK VALUME
//	uint32_t cycle_6[] = { GPIO_PIN_15, GPIO_PIN_14, GPIO_PIN_2, GPIO_PIN_5,GPIO_PIN_10 }; // STEP 6 FILL THE 15ml CHEMICAL IN THE TANK
//	uint32_t cycle_7[] = { GPIO_PIN_0, GPIO_PIN_1, GPIO_PIN_2, GPIO_PIN_5,GPIO_PIN_10, GPIO_PIN_11 }; // STEP 7 FILL THE 635ml WATER IN THR TANK
//
//	uint32_t cycle_8[] = { GPIO_PIN_13, GPIO_PIN_2, GPIO_PIN_9 }; // STEP 8 200ml CHEMICAL WATER FLUSH A to V
//	uint32_t cycle_9[] = { GPIO_PIN_13, GPIO_PIN_4, GPIO_PIN_8 }; //STEP 9  200ml CHEMICAL WATER FLUSH V to A
//	uint32_t cycle_10[] = { GPIO_PIN_13, GPIO_PIN_3, GPIO_PIN_12 }; //STEP 10 250ml CHEMICAL WATER FLUSH DO to DI
//
	//******************  TCV cycle start from here  ********************//

//	    uint32_t cycle_11[] = {GPIO_PIN_0,GPIO_PIN_1,GPIO_PIN_2,GPIO_PIN_11,GPIO_PIN_9}; //STEP 11 FLUSH THE WATER A to V FOR THE 10 SECOND
//	    uint32_t cycle_12[] = {GPIO_PIN_0,GPIO_PIN_1,GPIO_PIN_4,GPIO_PIN_8,GPIO_PIN_11};
//	    uint32_t cycle_13[] = {GPIO_PIN_4,GPIO_PIN_2,GPIO_PIN_5,GPIO_PIN_10};

	//******************  Pressure leack test cycle start from here  ********************//

//	    uint32_t cycle_13[] ={GPIO_PIN_4,GPIO_PIN_3, GPIO_PIN_12}; //STEP 13 -250mmHG pressure create
//	    uint32_t cycle_14[] = {GPIO_PIN_4};

	//******************  Sterilization cycle start from here  ********************//

//			GPIO_PIN_11, GPIO_PIN_12, GPIO_PIN_13,ut GPIO_PIN_14 };
//	uint32_t cycle_4[] = { GPIO_PIN_0, GPIO_PIN_8, GPIO_PIN_9, GPIO_PIN_10,
//			GPIO_PIN_11, GPIO_PIN_12, GPIO_PIN_13 };
//	uint32_t cycle_5[] = { GPIO_PIN_0, GPIO_PIN_8, GPIO_PIN_9, GPIO_PIN_10,
//			GPIO_PIN_11, GPIO_PIN_12, GPIO_PIN_13 };
//	uint32_t cycle_6[] = { GPIO_PIN_8, GPIO_PIN_9, GPIO_PIN_11, GPIO_PIN_12,
//			GPIO_PIN_14, GPIO_PIN_15 };
//	uint32_t cycle_7[] = { GPIO_PIN_8, GPIO_PIN_9, GPIO_PIN_11, GPIO_PIN_12,
//			GPIO_PIN_14, GPIO_PIN_15 };

	/*while (1) {
		//cycle(cycle_1, sizeof(cycle_1) / sizeof(cycle_1[0]), 2000);
		//vTaskDelay(pdMS_TO_TICKS(10000));
//		cycle(cycle_2, sizeof(cycle_2) / sizeof(cycle_2[0]), 10000);
//		vTaskDelay(pdMS_TO_TICKS(10000));
//		//cycle(cycle_3, sizeof(cycle_3) / sizeof(cycle_3[0]), 10000);
//		//vTaskDelay(pdMS_TO_TICKS(10000));
//		cycle(cycle_1, sizeof(cycle_1) / sizeof(cycle_1[0]), 30000);
//		vTaskDelay(pdMS_TO_TICKS(5000));
//		cycle(cycle_2, sizeof(cycle_2) / sizeof(cycle_2[0]), 7000);
//		vTaskDelay(pdMS_TO_TICKS(3000));
//		cycle(cycle_3, sizeof(cycle_3) / sizeof(cycle_3[0]), 30000);
//		vTaskDelay(pdMS_TO_TICKS(30000));
//		cycle(cycle_4, sizeof(cycle_4) / sizeof(cycle_4[0]), 10000);
//		vTaskDelay(pdMS_TO_TICKS(60000));
		cycle(cycle_5, sizeof(cycle_5) / sizeof(cycle_5[0]), 30000);
		vTaskDelay(pdMS_TO_TICKS(20000));
//		cycle(cycle_6, sizeof(cycle_6) / sizeof(cycle_6[0]), 10000);
//		vTaskDelay(pdMS_TO_TICKS(20000));
//		cycle(cycle_7, sizeof(cycle_7) / sizeof(cycle_7[0]), 22000);
//    	vTaskDelay(pdMS_TO_TICKS(20000));
//		cycle(cycle_8, sizeof(cycle_8) / sizeof(cycle_8[0]), 10000);
//		vTaskDelay(pdMS_TO_TICKS(10000));
//		cycle(cycle_9, sizeof(cycle_9) / sizeof(cycle_9[0]), 10000);
//	    vTaskDelay(pdMS_TO_TICKS(10000));
//	    cycle(cycle_10, sizeof(cycle_10) / sizeof(cycle_10[0]),38000);
//		vTaskDelay(pdMS_TO_TICKS(10000));
//		cycle(cycle_11, sizeof(cycle_11) / sizeof(cycle_11[0]),20000);
//      vTaskDelay(pdMS_TO_TICKS(10000));
//      cycle(cycle_12, sizeof(cycle_12) / sizeof(cycle_12[0]),10000);
//      vTaskDelay(pdMS_TO_TICKS(10000));
//      cycle(cycle_13, sizeof(cycle_13) / sizeof(cycle_13[0]),60000);
//      vTaskDelay(pdMS_TO_TICKS(10000));
	}
}
*/
//  -------------------  These are the common function which will be use for rinse cycle and cleaning cycle  ------------------------

void Set_Valves(uint32_t *pins, uint8_t pin_count) {
    for (uint8_t i = 0; i < pin_count; i++) {
        HAL_GPIO_WritePin(GPIOD, pins[i], GPIO_PIN_SET);  // Set pins high
    }
}

void Reset_GPIO_Pins(uint32_t *pins, uint8_t pin_count) {
    for (uint8_t i = 0; i < pin_count; i++) {
        HAL_GPIO_WritePin(GPIOD, pins[i], GPIO_PIN_RESET);
    }
}

void cycle(uint32_t *pins, uint8_t pin_count, uint32_t delay, uint32_t *last_time, uint32_t *end_time) {
    uint32_t current_time = HAL_GetTick();

    if (*last_time == 0) {
        Set_Valves(pins, pin_count);
        *last_time = current_time;
        *end_time = current_time + delay;
    }

    if (current_time >= *end_time) {
        Reset_GPIO_Pins(pins, pin_count);  // Only reset pins belonging to this cycle
        *last_time = 0;
    }
}

// -------------------- And here is the nonblocking code for risen & cleaning cycle code ----------------
/*
void ValveOperatingTask(void) {
    // Define all valve cycles with their durations (in milliseconds)
    static const struct {
        uint32_t pins[6];       // Pin configuration
        uint8_t pin_count;      // Number of pins
        uint32_t duration_ms;   // Custom duration for each cycle
    } cycles[] = {
        // Flushing cycles (30 seconds each)
        {{GPIO_PIN_0, GPIO_PIN_1, GPIO_PIN_2, GPIO_PIN_9, GPIO_PIN_11, 0}, 5, 20000}, // Cycle 1
        {{GPIO_PIN_0, GPIO_PIN_1, GPIO_PIN_4, GPIO_PIN_8, GPIO_PIN_11, 0}, 5, 20000},  // Cycle 2
        {{GPIO_PIN_0, GPIO_PIN_1, GPIO_PIN_3, GPIO_PIN_12, GPIO_PIN_11, 0}, 5,20000}, // Cycle 3

        // Cleaning cycles
        {{GPIO_PIN_0, GPIO_PIN_1, GPIO_PIN_2, GPIO_PIN_5, GPIO_PIN_10, GPIO_PIN_11}, 6, 15000}, // Cycle 4 (30s)
        {{GPIO_PIN_13, GPIO_PIN_2, GPIO_PIN_9, 0, 0, 0}, 3, 20000},                              // Cycle 5 (5s)
        {{GPIO_PIN_15, GPIO_PIN_14, GPIO_PIN_2, GPIO_PIN_5, GPIO_PIN_10, 0}, 5, 5000},         // Cycle 6 (30s)
        {{GPIO_PIN_0, GPIO_PIN_1, GPIO_PIN_2, GPIO_PIN_5, GPIO_PIN_10, GPIO_PIN_11}, 6, 20000}, // Cycle 7 (30s)

        // Chemical flush cycles
        {{GPIO_PIN_13, GPIO_PIN_2, GPIO_PIN_9, 0, 0, 0}, 3, 10000},                             // Cycle 8 (10s)
        {{GPIO_PIN_13, GPIO_PIN_4, GPIO_PIN_8, 0, 0, 0}, 3, 10000},                             // Cycle 9 (10s)
        {{GPIO_PIN_13, GPIO_PIN_3, GPIO_PIN_12, 0, 0, 0}, 3, 20000},                           // Cycle 10 (20s)

        // TCV cycles (30 seconds each)
        {{GPIO_PIN_0, GPIO_PIN_1, GPIO_PIN_2, GPIO_PIN_11, GPIO_PIN_9, 0}, 5, 30000},          // Cycle 11
        {{GPIO_PIN_0, GPIO_PIN_1, GPIO_PIN_4, GPIO_PIN_8, GPIO_PIN_11, 0}, 5, 30000}           // Cycle 12
    };

    enum {
        STATE_INITIAL,
        STATE_RUN_CYCLE,
        STATE_REGULAR_DELAY,
        STATE_CYCLE4_DELAY  // Special 1-minute delay after Cycle 4
    } state = STATE_INITIAL;

    static uint8_t current_cycle = 0;
    static uint32_t cycle_end_time = 0;
    static uint32_t delay_end_time = 0;

    const uint32_t regular_delay = 500;    // 0.5 seconds between most cycles
    const uint32_t cycle4_delay = 60000;   // 1 minute delay after Cycle 4

    // Initialize all valves to OFF state
    for (uint8_t i = 0; i < sizeof(cycles)/sizeof(cycles[0]); i++) {
        Reset_GPIO_Pins(cycles[i].pins, cycles[i].pin_count);
    }

    while (1) {
        uint32_t current_time = HAL_GetTick();

        switch (state) {
            case STATE_INITIAL:
                state = STATE_RUN_CYCLE;
                break;

            case STATE_RUN_CYCLE:
                if (cycle_end_time == 0) {
                    // Start current cycle with its custom duration
                    Set_Valves(cycles[current_cycle].pins, cycles[current_cycle].pin_count);
                    cycle_end_time = current_time + cycles[current_cycle].duration_ms;
                }
                else if (current_time >= cycle_end_time) {
                    // End current cycle
                    Reset_GPIO_Pins(cycles[current_cycle].pins, cycles[current_cycle].pin_count);

                    // Special handling after Cycle 4
                    if (current_cycle == 3) {  // Cycle 4 is index 3
                        delay_end_time = current_time + cycle4_delay;
                        state = STATE_CYCLE4_DELAY;
                    }
                    else {
                        // Regular delay for other cycles
                        delay_end_time = current_time + regular_delay;
                        state = STATE_REGULAR_DELAY;
                    }
                    cycle_end_time = 0;
                }
                break;

            case STATE_REGULAR_DELAY:
            case STATE_CYCLE4_DELAY:
                if (current_time >= delay_end_time) {
                    // Move to next cycle (with wrap-around)
                    current_cycle = (current_cycle + 1) % (sizeof(cycles)/sizeof(cycles[0]));
                    state = STATE_RUN_CYCLE;
                }
                break;
        }
    }
}*/
         // -------------- This code nonblocking code for rinse cycle ----------------------

void ValveOperatingTask(void) {
    // Define all needed cycles
    static const uint32_t cycle2_pins[] = {GPIO_PIN_0, GPIO_PIN_1, GPIO_PIN_3, GPIO_PIN_12,GPIO_PIN_11};
    static const uint32_t cycle3_pins[] = {GPIO_PIN_0, GPIO_PIN_1, GPIO_PIN_13,GPIO_PIN_11};
    static const uint32_t cycle4_pins[] = {GPIO_PIN_13, GPIO_PIN_4, GPIO_PIN_9};

    // Valve cycles with their durations
    static const struct {
        const uint32_t* pins;
        uint8_t pin_count;
        uint32_t duration_ms;
    } cycles[] = {
        { cycle2_pins, sizeof(cycle2_pins)/sizeof(cycle2_pins[0]), 5000 },    // Cycle 2: 5 sec
        { cycle3_pins, sizeof(cycle3_pins)/sizeof(cycle3_pins[0]), 10000 },   // Cycle 3: 10 sec
        { cycle4_pins, sizeof(cycle4_pins)/sizeof(cycle4_pins[0]), 100000 }   // Cycle 4: 100 sec
    };

    enum {
        STATE_INITIAL,
        STATE_RUN_CYCLE,
        STATE_INTER_CYCLE_DELAY,  // 5s delay between cycles
        STATE_POST_CYCLE3_DELAY,  // 1 minute delay after cycle 3
        STATE_POST_CYCLE4_DELAY   // 30 second delay after cycle 4
    } state = STATE_INITIAL;

    static uint8_t current_cycle = 0;
    static uint32_t cycle_end_time = 0;
    static uint32_t delay_end_time = 0;

    const uint32_t switching_delay = 5000;      // 5 seconds between cycles
    const uint32_t post_cycle3_delay = 60000;  // 1 minute after cycle 3
    const uint32_t post_cycle4_delay = 30000;  // 30 seconds after cycle 4

    // Initialize all valves to OFF state
    for (uint8_t i = 0; i < sizeof(cycles)/sizeof(cycles[0]); i++) {
        Reset_GPIO_Pins(cycles[i].pins, cycles[i].pin_count);
    }

    while (1) {
        uint32_t current_time = HAL_GetTick();

        switch (state) {
            case STATE_INITIAL:
                state = STATE_RUN_CYCLE;
                break;

            case STATE_RUN_CYCLE:
                if (cycle_end_time == 0) {
                    // Start current cycle
                    Set_Valves(cycles[current_cycle].pins, cycles[current_cycle].pin_count);
                    cycle_end_time = current_time + cycles[current_cycle].duration_ms;
                }
                else if (current_time >= cycle_end_time) {
                    // Cycle completed
                    Reset_GPIO_Pins(cycles[current_cycle].pins, cycles[current_cycle].pin_count);

                    if (current_cycle == 1) {  // After cycle 3
                        delay_end_time = current_time + post_cycle3_delay;
                        state = STATE_POST_CYCLE3_DELAY;
                    }
                    else if (current_cycle == 2) {  // After cycle 4
                        delay_end_time = current_time + post_cycle4_delay;
                        state = STATE_POST_CYCLE4_DELAY;
                    }
                    else {  // After cycle 2
                        delay_end_time = current_time + switching_delay;
                        state = STATE_INTER_CYCLE_DELAY;
                    }
                    cycle_end_time = 0;
                }
                break;

            case STATE_INTER_CYCLE_DELAY:
            case STATE_POST_CYCLE3_DELAY:
            case STATE_POST_CYCLE4_DELAY:
                if (current_time >= delay_end_time) {
                    // Move to next cycle (with wrap-around)
                    current_cycle = (current_cycle + 1) % (sizeof(cycles)/sizeof(cycles[0]));
                    state = STATE_RUN_CYCLE;
                }
                break;
        }
    }
}
void Rinsecycle(void) {
    // Define all cycles
    static const uint32_t cycle1_pins[] = {GPIO_PIN_0, GPIO_PIN_1, GPIO_PIN_2, GPIO_PIN_9, GPIO_PIN_11};
    static const uint32_t cycle2_pins[] = {GPIO_PIN_0, GPIO_PIN_1, GPIO_PIN_4, GPIO_PIN_8, GPIO_PIN_11};
    static const uint32_t cycle3_pins[] = {GPIO_PIN_0, GPIO_PIN_1, GPIO_PIN_3, GPIO_PIN_12, GPIO_PIN_11};

    // Valve cycles with their durations
    static const struct {
        const uint32_t* pins;
        uint8_t pin_count;
        uint32_t duration_ms;
    } cycles[] = {
        { cycle1_pins, sizeof(cycle1_pins)/sizeof(cycle1_pins[0]), 30000 },  // Cycle 1: 30 sec
        { cycle2_pins, sizeof(cycle2_pins)/sizeof(cycle2_pins[0]), 30000 },  // Cycle 2: 30 sec
        { cycle3_pins, sizeof(cycle3_pins)/sizeof(cycle3_pins[0]), 30000 }   // Cycle 3: 30 sec
    };

    static enum {
        STATE_INITIAL,
        STATE_RUN_CYCLE,
        STATE_INTER_CYCLE_DELAY,
        STATE_COMPLETE
    } state = STATE_INITIAL;

    static uint8_t current_cycle = 0;
    static uint32_t cycle_end_time = 0;
    static uint32_t delay_end_time = 0;
    const uint32_t switching_delay = 10000;  // 10 seconds between cycles

    uint32_t current_time = HAL_GetTick();

    switch (state) {
        case STATE_INITIAL:
            // Initialize all valves to OFF state
            for (uint8_t i = 0; i < sizeof(cycles)/sizeof(cycles[0]); i++) {
                Reset_GPIO_Pins(cycles[i].pins, cycles[i].pin_count);
            }
            state = STATE_RUN_CYCLE;
            break;

        case STATE_RUN_CYCLE:
            if (cycle_end_time == 0) {
                // Start current cycle
                Set_Valves(cycles[current_cycle].pins, cycles[current_cycle].pin_count);
                cycle_end_time = current_time + cycles[current_cycle].duration_ms;
            }
            else if (current_time >= cycle_end_time) {
                // Cycle completed
                Reset_GPIO_Pins(cycles[current_cycle].pins, cycles[current_cycle].pin_count);

                if (current_cycle < sizeof(cycles)/sizeof(cycles[0]) - 1) {
                    // More cycles to run
                    delay_end_time = current_time + switching_delay;
                    state = STATE_INTER_CYCLE_DELAY;
                }
                else {
                    // All cycles completed
                    state = STATE_COMPLETE;
                }
                cycle_end_time = 0;
            }
            break;

        case STATE_INTER_CYCLE_DELAY:
            if (current_time >= delay_end_time) {
                // Move to next cycle
                current_cycle++;
                state = STATE_RUN_CYCLE;
            }
            break;

        case STATE_COMPLETE:
            // Sequence completed - do nothing
            break;
    }
}
// drain cycle
void Draincycle(void) {
    // Define only Cycle 1
    static const uint32_t cycle1_pins[] = {GPIO_PIN_13, GPIO_PIN_4, GPIO_PIN_9};

    enum {
        STATE_INITIAL,
        STATE_RUN_CYCLE,
        STATE_COMPLETE
    } state = STATE_INITIAL;

    static uint32_t cycle_end_time = 0;
    const uint32_t cycle_duration = 60000;  // 30 seconds

    while (1) {
        uint32_t current_time = HAL_GetTick();

        switch (state) {
            case STATE_INITIAL:
                // Initialize valves to OFF state
                Reset_GPIO_Pins(cycle1_pins, sizeof(cycle1_pins)/sizeof(cycle1_pins[0]));
                state = STATE_RUN_CYCLE;
                break;

            case STATE_RUN_CYCLE:
                if (cycle_end_time == 0) {
                    // Start Cycle 1
                    Set_Valves(cycle1_pins, sizeof(cycle1_pins)/sizeof(cycle1_pins[0]));
                    cycle_end_time = current_time + cycle_duration;
                }
                else if (current_time >= cycle_end_time) {
                    // Cycle 1 completed
                    Reset_GPIO_Pins(cycle1_pins, sizeof(cycle1_pins)/sizeof(cycle1_pins[0]));
                    state = STATE_COMPLETE;
                    cycle_end_time = 0;
                }
                break;

            case STATE_COMPLETE:
                // Do nothing - stays in completed state
                break;
        }
    }
}

/* USER CODE END 0 */

int main(void) {

	/* MCU Configuration--------------------------------------------------------*/

	/* Reset of all peripherals, Initializes the Flash interface and the Systick. */
	HAL_Init();

	/* Configure the system clock */
	SystemClock_Config();

	MX_GPIO_Init();
	MX_DMA_Init();
	MX_USART1_UART_Init();
	MX_USART2_UART_Init();
	MX_ADC1_Init();

	/* USER CODE BEGIN 2 */

	 HAL_UART_Receive_DMA(&huart2, rx_buffer, sizeof(rx_buffer));
	// xTaskCreate(WeightMeasurementTask, "WeightMeasurement", 1024, NULL,
	//tskIDLE_PRIORITY + 1, NULL);
	//xTaskCreate(ValveOperatingTask, "ValveOperatingTask", 512, NULL, 1,NULL);
	//vTaskStartScheduler();
	/* USER CODE END 2 */

	/* Create the thread(s) */
	/* definition and creation of defaultTask */
	osThreadDef(defaultTask, StartDefaultTask, osPriorityNormal, 0, 1024);
	defaultTaskHandle = osThreadCreate(osThread(defaultTask), NULL);

	/* definition and creation of myTask02 */
	osThreadDef(myTask02, StartTask02, osPriorityNormal, 0, 1024);
	myTask02Handle = osThreadCreate(osThread(myTask02), NULL);

	/* Start scheduler */
	//osKernelStart();

	/* Start scheduler */
	osKernelStart();

	/* We should never get here as control is now taken by the scheduler */

	/* Infinite loop */
	while (1) {

	}
}
void SystemClock_Config(void) {
	RCC_OscInitTypeDef RCC_OscInitStruct = { 0 };
	RCC_ClkInitTypeDef RCC_ClkInitStruct = { 0 };

	/** Configure the main internal regulator output voltage
	 */
	__HAL_RCC_PWR_CLK_ENABLE();
	__HAL_PWR_VOLTAGESCALING_CONFIG(PWR_REGULATOR_VOLTAGE_SCALE1);

	/** Initializes the RCC Oscillators according to the specified parameters
	 * in the RCC_OscInitTypeDef structure.
	 */
	RCC_OscInitStruct.OscillatorType = RCC_OSCILLATORTYPE_HSE;
	RCC_OscInitStruct.HSEState = RCC_HSE_ON;
	RCC_OscInitStruct.PLL.PLLState = RCC_PLL_ON;
	RCC_OscInitStruct.PLL.PLLSource = RCC_PLLSOURCE_HSE;
	RCC_OscInitStruct.PLL.PLLM = 4;
	RCC_OscInitStruct.PLL.PLLN = 168;
	RCC_OscInitStruct.PLL.PLLP = RCC_PLLP_DIV2;
	RCC_OscInitStruct.PLL.PLLQ = 4;
	if (HAL_RCC_OscConfig(&RCC_OscInitStruct) != HAL_OK) {
		Error_Handler();
	}

	/** Initializes the CPU, AHB and APB buses clocks
	 */
	RCC_ClkInitStruct.ClockType = RCC_CLOCKTYPE_HCLK | RCC_CLOCKTYPE_SYSCLK
			| RCC_CLOCKTYPE_PCLK1 | RCC_CLOCKTYPE_PCLK2;
	RCC_ClkInitStruct.SYSCLKSource = RCC_SYSCLKSOURCE_PLLCLK;
	RCC_ClkInitStruct.AHBCLKDivider = RCC_SYSCLK_DIV1;
	RCC_ClkInitStruct.APB1CLKDivider = RCC_HCLK_DIV4;
	RCC_ClkInitStruct.APB2CLKDivider = RCC_HCLK_DIV2;

	if (HAL_RCC_ClockConfig(&RCC_ClkInitStruct, FLASH_LATENCY_5) != HAL_OK) {
		Error_Handler();
	}
}

static void MX_ADC1_Init(void) {

	ADC_ChannelConfTypeDef sConfig = { 0 };

	/** Configure the global features of the ADC (Clock, Resolution, Data Alignment and number of conversion)
	 */
	hadc1.Instance = ADC1;
	hadc1.Init.ClockPrescaler = ADC_CLOCK_SYNC_PCLK_DIV4;
	hadc1.Init.Resolution = ADC_RESOLUTION_12B;
	hadc1.Init.ScanConvMode = DISABLE;
	hadc1.Init.ContinuousConvMode = DISABLE;
	hadc1.Init.DiscontinuousConvMode = DISABLE;
	hadc1.Init.ExternalTrigConvEdge = ADC_EXTERNALTRIGCONVEDGE_NONE;
	hadc1.Init.ExternalTrigConv = ADC_SOFTWARE_START;
	hadc1.Init.DataAlign = ADC_DATAALIGN_RIGHT;
	hadc1.Init.NbrOfConversion = 1;
	hadc1.Init.DMAContinuousRequests = DISABLE;
	hadc1.Init.EOCSelection = ADC_EOC_SINGLE_CONV;
	if (HAL_ADC_Init(&hadc1) != HAL_OK) {
		Error_Handler();
	}

	/** Configure for the selected ADC regular channel its corresponding rank in the sequencer and its sample time.
	 */
	sConfig.Channel = ADC_CHANNEL_4;
	sConfig.Rank = 1;
	sConfig.SamplingTime = ADC_SAMPLETIME_3CYCLES;
	if (HAL_ADC_ConfigChannel(&hadc1, &sConfig) != HAL_OK) {
		Error_Handler();
	}

}

static void MX_USART1_UART_Init(void) {

	huart1.Instance = USART1;
	huart1.Init.BaudRate = 115200;
	huart1.Init.WordLength = UART_WORDLENGTH_8B;
	huart1.Init.StopBits = UART_STOPBITS_1;
	huart1.Init.Parity = UART_PARITY_NONE;
	huart1.Init.Mode = UART_MODE_TX_RX;
	huart1.Init.HwFlowCtl = UART_HWCONTROL_NONE;
	huart1.Init.OverSampling = UART_OVERSAMPLING_16;
	if (HAL_UART_Init(&huart1) != HAL_OK) {
		Error_Handler();
	}

}

static void MX_USART2_UART_Init(void) {

	huart2.Instance = USART2;
	huart2.Init.BaudRate = 115200;
	huart2.Init.WordLength = UART_WORDLENGTH_8B;
	huart2.Init.StopBits = UART_STOPBITS_1;
	huart2.Init.Parity = UART_PARITY_NONE;
	huart2.Init.Mode = UART_MODE_TX_RX;
	huart2.Init.HwFlowCtl = UART_HWCONTROL_NONE;
	huart2.Init.OverSampling = UART_OVERSAMPLING_16;
	if (HAL_UART_Init(&huart2) != HAL_OK) {
		Error_Handler();
	}

}

static void MX_DMA_Init(void) {

	/* DMA controller clock enable */
	__HAL_RCC_DMA1_CLK_ENABLE();

	/* DMA interrupt init */
	/* DMA1_Stream5_IRQn interrupt configuration */
	HAL_NVIC_SetPriority(DMA1_Stream5_IRQn, 5, 0);
	HAL_NVIC_EnableIRQ(DMA1_Stream5_IRQn);

}

static void MX_GPIO_Init(void) {
	GPIO_InitTypeDef GPIO_InitStruct = { 0 };

	/* GPIO Ports Clock Enable */
	__HAL_RCC_GPIOH_CLK_ENABLE();
	__HAL_RCC_GPIOA_CLK_ENABLE();
	__HAL_RCC_GPIOD_CLK_ENABLE();

	/*Configure GPIO pin Output Level */
	HAL_GPIO_WritePin(GPIOA, GPIO_PIN_1 | GPIO_PIN_12, GPIO_PIN_RESET);

	/*Configure GPIO pin Output Level */
	HAL_GPIO_WritePin(GPIOD,
			GPIO_PIN_8 | GPIO_PIN_9 | GPIO_PIN_10 | GPIO_PIN_11 | GPIO_PIN_12
					| GPIO_PIN_13 | GPIO_PIN_14 | GPIO_PIN_15 | GPIO_PIN_0
					| GPIO_PIN_1 | GPIO_PIN_2 | GPIO_PIN_3 | GPIO_PIN_4
					| GPIO_PIN_5 | GPIO_PIN_6, GPIO_PIN_RESET);

	/*Configure GPIO pin : PA0 */
	GPIO_InitStruct.Pin = GPIO_PIN_0;
	GPIO_InitStruct.Mode = GPIO_MODE_INPUT;
	GPIO_InitStruct.Pull = GPIO_NOPULL;
	HAL_GPIO_Init(GPIOA, &GPIO_InitStruct);

	/*Configure GPIO pins : PA1 PA12 */
	GPIO_InitStruct.Pin = GPIO_PIN_1 | GPIO_PIN_12;
	GPIO_InitStruct.Mode = GPIO_MODE_OUTPUT_PP;
	GPIO_InitStruct.Pull = GPIO_NOPULL;
	GPIO_InitStruct.Speed = GPIO_SPEED_FREQ_LOW;
	HAL_GPIO_Init(GPIOA, &GPIO_InitStruct);

	/*Configure GPIO pins : PD8 PD9 PD10 PD11
	 PD12 PD13 PD14 PD15
	 PD0 PD1 PD2 PD3
	 PD4 PD5 PD6 */
	GPIO_InitStruct.Pin = GPIO_PIN_8 | GPIO_PIN_9 | GPIO_PIN_10 | GPIO_PIN_11
			| GPIO_PIN_12 | GPIO_PIN_13 | GPIO_PIN_14 | GPIO_PIN_15 | GPIO_PIN_0
			| GPIO_PIN_1 | GPIO_PIN_2 | GPIO_PIN_3 | GPIO_PIN_4 | GPIO_PIN_5
			| GPIO_PIN_6;
	GPIO_InitStruct.Mode = GPIO_MODE_OUTPUT_PP;
	GPIO_InitStruct.Pull = GPIO_NOPULL;
	GPIO_InitStruct.Speed = GPIO_SPEED_FREQ_LOW;
	HAL_GPIO_Init(GPIOD, &GPIO_InitStruct);

}

void StartDefaultTask(void const *argument) {
	/* USER CODE BEGIN 5 */
	/* Infinite loop */
	/*
	 int32_t offset = 0;
	 float scale = NAN;
	 float last_weight = 0.0;
	 int weight = 0;
	 int get_wieght = 0;
	 float density = 1.0;
	 float volume_ml;

	 FLASH_FlushCaches();
	 // Read saved offset and scale from Flash
	 Flash_ReadData(FLASH_USER_START_ADDR, &offset, sizeof(offset));
	 Flash_ReadData(FLASH_USER_START_ADDR + sizeof(offset), &scale,
	 sizeof(scale));

	 if (offset == -1 || isnan(scale)) {
	 snprintf(buffer3, sizeof(buffer3),"hello1 condtion.\n\r:");
	 HAL_UART_Transmit(&huart1, (uint8_t*) buffer3, strlen(buffer3),
	 HAL_MAX_DELAY);
	 // Perform first-time calibration
	 // printf("First-time calibration needed.\n");
	 //		snprintf(buffer0, sizeof(buffer0),
	 //				"First-time calibration needed.\n\r:");
	 //		HAL_UART_Transmit(&huart1, (uint8_t*) buffer0, strlen(buffer0),
	 //		HAL_MAX_DELAY);

	 //printf("Calibrating offset...\n");
	 //		snprintf(buffer1, sizeof(buffer1), "Calibrating offset...\n\r:");
	 //		HAL_UART_Transmit(&huart1, (uint8_t*) buffer1, strlen(buffer1),
	 //		HAL_MAX_DELAY);

	 osDelay(50);
	 offset = HX711_Read();*/
	/*
	 //printf("Offset: %ld\n", offset);
	 snprintf(buffer2, sizeof(buffer2), "Offset: %ld\n\r:");
	 HAL_UART_Transmit(&huart1, (uint8_t*) buffer2, strlen(buffer2),
	 HAL_MAX_DELAY);

	 //printf("Place known weight (e.g., 2kg) on the scale...\n");
	 snprintf(buffer3, sizeof(buffer3),
	 "Place known weight (e.g., 2kg) on the scale...\n\r:");
	 HAL_UART_Transmit(&huart1, (uint8_t*) buffer3, strlen(buffer3),
	 HAL_MAX_DELAY);*/

//		int32_t raw_with_weight = HX711_Read();
//		scale = (float) (raw_with_weight - offset) / 346.0; // Known weight: 2kg
//		// printf("Scale factor: %.2f\n", scale);
//		snprintf(buffer4, sizeof(buffer4), "Scale factor: %.2f\n\r:");
//		HAL_UART_Transmit(&huart1, (uint8_t*) buffer4, strlen(buffer4),
//		HAL_MAX_DELAY);
	// Save offset and scale to Flash
	//	Flash_WriteData(FLASH_USER_START_ADDR, &offset, sizeof(offset));
	//	Flash_WriteData(FLASH_USER_START_ADDR + sizeof(offset), &scale,
	//		sizeof(scale));
	//} else {
	//printf("Offset and scale loaded from Flash.\n");
//		snprintf(buffer5, sizeof(buffer5),
//				"Offset and scale loaded from Flash.\n\r:");
//		HAL_UART_Transmit(&huart1, (uint8_t*) buffer5, strlen(buffer5),
//		HAL_MAX_DELAY);
//		//// printf("Offset: %ld, Scale: %.2f\n", offset, scale);
//
//		snprintf(buffer6, sizeof(buffer6), "Offset: %ld\n\r:", offset);
//		HAL_UART_Transmit(&huart1, (uint8_t*) buffer6, strlen(buffer6),
//		HAL_MAX_DELAY);
//		snprintf(buffer7, sizeof(buffer7), "Scale: %.2f\n\r:", scale);
//		HAL_UART_Transmit(&huart1, (uint8_t*) buffer7, strlen(buffer7),
//		HAL_MAX_DELAY);
	//}
//
	WeightMeasurementTask();
	//Water_pressure_data();
	for (;;) {
		/*
		 weight = HX711_GetWeight(offset, scale);
		 get_wieght=weight;

		 if (weight > 3000.0) {
		 snprintf(buffer, sizeof(buffer),
		 "Overload! Max weight is 2kg.\n\r");
		 HAL_UART_Transmit(&huart1, (uint8_t*) buffer, strlen(buffer),
		 HAL_MAX_DELAY);
		 } else {
		 snprintf(buffer, sizeof(buffer),"                                                   Weight: %d g\n\r",get_wieght);
		 HAL_UART_Transmit(&huart1, (uint8_t*) buffer, strlen(buffer),HAL_MAX_DELAY);

		 }
		 //snprintf(buffer12, sizeof(buffer12), "                                                   raw_data: %.2f g\n\r", raw_value);
		 //HAL_UART_Transmit(&huart1, (uint8_t *)buffer12, strlen(buffer12), HAL_MAX_DELAY);

		 // Save weight to Flash if changed significantly
		 osDelay(250);*/
	}
}
/* USER CODE END 5 */

void StartTask02(void const *argument) {
	/* USER CODE BEGIN StartTask02 */
	/* Infinite loop */
	//ValveOperatingTask();
	//Rinsecycle();
	for(;;)
		   {
		//

		   }
	/* USER CODE END StartTask02 */
}

void Error_Handler(void)
{
  __disable_irq();
  while (1)
  {
  }
}
